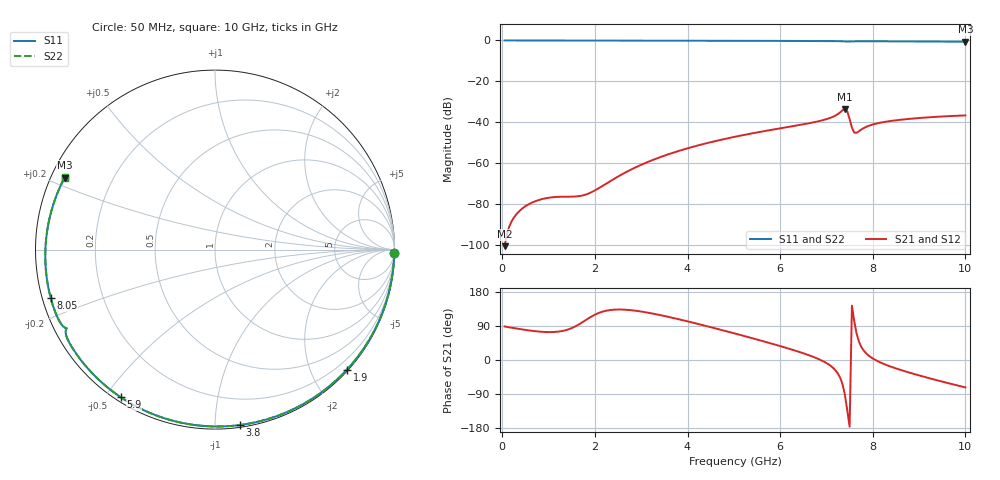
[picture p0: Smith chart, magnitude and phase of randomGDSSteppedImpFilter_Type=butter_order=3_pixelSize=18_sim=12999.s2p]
! freq	dB(S11)	phase(S11)	dB(S12)	phase(S12)
!  dB(S21)	phase(S21)	dB(S22)	phase(S22)
!S-par simulation data
#  GHz  S  DB  R 50
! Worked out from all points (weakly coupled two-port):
!   200 points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, 50 MHz to 10 GHz, reference 50 ohm
!   highest |S21| = -33.51 dB at 7.4 GHz (marker M1); lowest = -100.5 dB at 50 MHz (marker M2)
!   lowest |S11| = -0.6 dB at 10 GHz (marker M3), VSWR 27.19, Z = 1.93 + j11.3 ohm
!   |S11| at or under -10 dB: nowhere
!   |S22| runs from -0.6 to 0.0 dB; largest |S21 - S12| = 0
!   S11 on the Smith chart (normalised r, x): 50 MHz: open; 1.9 GHz: 0.02, -2.59; 3.8 GHz: 0.01, -1.15; 5.9 GHz: 0.02, -0.55; 8.05 GHz: 0.02, -0.15; 10 GHz: 0.04, +0.23
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0.05  -0.00 -1.1  -100.55 88.5  -100.55 88.5  -0.00 -1.1
0.55  -0.02 -12.4  -80.31 78.5  -80.31 78.5  -0.02 -12.4
1  -0.03 -22.5  -76.89 73.6  -76.89 73.6  -0.03 -22.5
1.75  -0.05 -39.0  -75.68 101.3  -75.68 101.3  -0.05 -39.0
1.9  -0.05 -42.2  -74.45 112.9  -74.45 112.9  -0.05 -42.3
2.75  -0.08 -60.3  -63.44 131.8  -63.44 131.8  -0.08 -60.3
3.4  -0.10 -73.7  -57.12 118.8  -57.12 118.8  -0.10 -73.8
3.8  -0.11 -81.8  -54.07 107.9  -54.07 107.9  -0.11 -81.8
5.05  -0.16 -106.3  -46.95 69.0  -46.95 69.0  -0.16 -106.3
5.9  -0.21 -122.5  -43.34 40.3  -43.34 40.3  -0.21 -122.5
6.7  -0.27 -137.8  -40.12 9.0  -40.12 9.0  -0.27 -137.8
7.1  -0.31 -145.6  -37.69 -16.3  -37.69 -16.3  -0.31 -145.6
7.4  -0.52 -151.8  -33.51 -93.4  -33.51 -93.4  -0.52 -151.8
7.45  -0.58 -152.0  -34.72 -133.6  -34.72 -133.6  -0.58 -152.0
7.55  -0.46 -153.2  -42.64 143.2  -42.64 143.2  -0.46 -153.2
7.6  -0.43 -154.2  -45.04 102.4  -45.04 102.4  -0.43 -154.2
7.65  -0.41 -155.3  -45.16 70.0  -45.16 70.0  -0.41 -155.3
7.85  -0.40 -159.4  -42.31 18.5  -42.31 18.5  -0.40 -159.4
8.05  -0.41 -163.5  -40.77 0.5  -40.77 0.5  -0.41 -163.5
8.35  -0.44 -169.6  -39.48 -15.8  -39.48 -15.8  -0.44 -169.6
9.2  -0.53 172.5  -37.58 -47.4  -37.58 -47.4  -0.53 172.5
10  -0.64 154.4  -36.64 -72.4  -36.64 -72.4  -0.64 154.4
